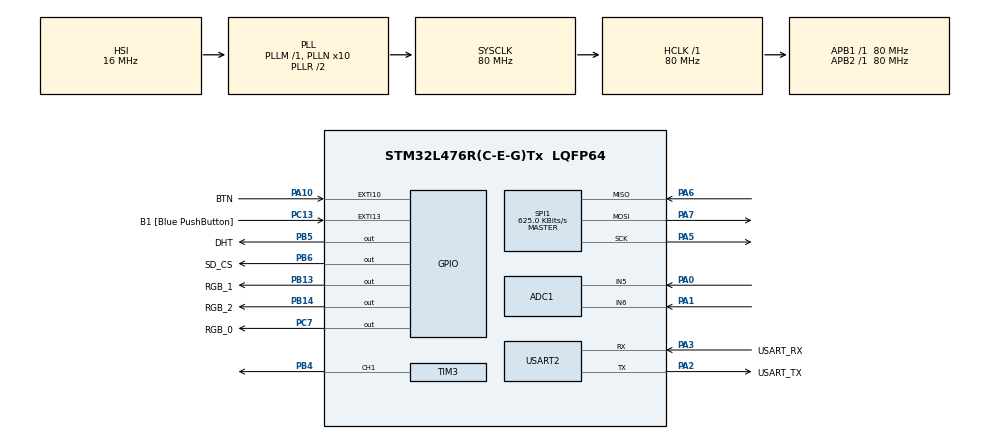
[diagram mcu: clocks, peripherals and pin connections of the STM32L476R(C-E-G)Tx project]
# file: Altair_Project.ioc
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ADC1.Channel-0\#ChannelRegularConversion=ADC_CHANNEL_5
ADC1.NbrOfConversionFlag=1
ADC1.OffsetNumber-0\#ChannelRegularConversion=ADC_OFFSET_NONE
ADC1.Rank-0\#ChannelRegularConversion=1
ADC1.SamplingTime-0\#ChannelRegularConversion=ADC_SAMPLETIME_2CYCLES_5
ADC1.master=1
Dma.ADC1.0.Direction=DMA_PERIPH_TO_MEMORY
Dma.ADC1.0.Instance=DMA1_Channel1
Dma.ADC1.0.MemDataAlignment=DMA_MDATAALIGN_WORD
Dma.ADC1.0.MemInc=DMA_MINC_ENABLE
Dma.ADC1.0.Mode=DMA_CIRCULAR
Dma.ADC1.0.PeriphDataAlignment=DMA_PDATAALIGN_WORD
Dma.ADC1.0.PeriphInc=DMA_PINC_DISABLE
Dma.ADC1.0.Priority=DMA_PRIORITY_LOW
Dma.Request0=ADC1
FREERTOS.Tasks01=defaultTask,24,128,StartDefaultTask,Default,NULL,Dynamic,NULL,NULL
IWDG.Prescaler=IWDG_PRESCALER_16
IWDG.Reload=1999
IWDG.Window=1199
Mcu.Family=STM32L4
Mcu.Name=STM32L476R(C-E-G)Tx
Mcu.Package=LQFP64
NVIC.DMA1_Channel1_IRQn=true\:5\:0\:false\:false\:true\:true\:false\:true\:true
NVIC.EXTI15_10_IRQn=true\:5\:0\:false\:false\:true\:true\:true\:true\:true
NVIC.PriorityGroup=NVIC_PRIORITYGROUP_4
NVIC.USART2_IRQn=true\:5\:0\:false\:false\:true\:true\:true\:true\:true
PA0.Signal=ADCx_IN5
PA1.Signal=ADCx_IN6
PA10.GPIO_Label=BTN
PA10.Signal=GPXTI10
PA13\ (JTMS-SWDIO).GPIO_Label=TMS
PA13\ (JTMS-SWDIO).Mode=Serial_Wire
PA13\ (JTMS-SWDIO).Signal=SYS_JTMS-SWDIO
PA14\ (JTCK-SWCLK).GPIO_Label=TCK
PA14\ (JTCK-SWCLK).Mode=Serial_Wire
PA14\ (JTCK-SWCLK).Signal=SYS_JTCK-SWCLK
PA2.GPIO_Label=USART_TX
PA2.GPIO_Mode=GPIO_MODE_AF_PP
PA2.GPIO_PuPd=GPIO_NOPULL
PA2.GPIO_Speed=GPIO_SPEED_FREQ_VERY_HIGH
PA2.Mode=Asynchronous
PA2.Signal=USART2_TX
PA3.GPIO_Label=USART_RX
PA3.GPIO_Mode=GPIO_MODE_AF_PP
PA3.GPIO_PuPd=GPIO_NOPULL
PA3.GPIO_Speed=GPIO_SPEED_FREQ_VERY_HIGH
PA3.Mode=Asynchronous
PA3.Signal=USART2_RX
PA5.Mode=Full_Duplex_Master
PA5.Signal=SPI1_SCK
PA6.Mode=Full_Duplex_Master
PA6.Signal=SPI1_MISO
PA7.Mode=Full_Duplex_Master
PA7.Signal=SPI1_MOSI
PB13.GPIO_Label=RGB_1
PB13.Signal=GPIO_Output
PB14.GPIO_Label=RGB_2
PB14.Signal=GPIO_Output
PB3\ (JTDO-TRACESWO).GPIO_Label=SWO
PB3\ (JTDO-TRACESWO).Signal=SYS_JTDO-SWO
PB4\ (NJTRST).Signal=S_TIM3_CH1
PB5.GPIO_Label=DHT
PB5.Signal=GPIO_Output
PB6.GPIO_Label=SD_CS
PB6.Signal=GPIO_Output
PC13.GPIO_Label=B1 [Blue PushButton]
PC13.GPIO_ModeDefaultEXTI=GPIO_MODE_IT_FALLING
PC13.GPIO_PuPd=GPIO_NOPULL
PC13.Signal=GPXTI13
PC14-OSC32_IN\ (PC14).Mode=LSE-External-Oscillator
PC14-OSC32_IN\ (PC14).Signal=RCC_OSC32_IN
PC15-OSC32_OUT\ (PC15).Mode=LSE-External-Oscillator
PC15-OSC32_OUT\ (PC15).Signal=RCC_OSC32_OUT
PC7.GPIO_Label=RGB_0
PC7.Signal=GPIO_Output
PH0-OSC_IN\ (PH0).Signal=RCC_OSC_IN
PH1-OSC_OUT\ (PH1).Signal=RCC_OSC_OUT
ProjectManager.HeapSize=0x200
ProjectManager.StackSize=0x400
ProjectManager.TargetToolchain=STM32CubeIDE
RCC.ADCFreq_Value=64000000
RCC.AHBFreq_Value=80000000
RCC.APB1Freq_Value=80000000
RCC.APB1TimFreq_Value=80000000
RCC.APB2Freq_Value=80000000
RCC.APB2TimFreq_Value=80000000
RCC.CortexFreq_Value=80000000
RCC.HCLKFreq_Value=80000000
RCC.HSE_VALUE=8000000
RCC.HSI_VALUE=16000000
RCC.MSI_VALUE=4000000
RCC.PLLN=10
RCC.PLLSourceVirtual=RCC_PLLSOURCE_HSI
RCC.PREFETCH_ENABLE=1
RCC.SYSCLKFreq_VALUE=80000000
RCC.SYSCLKSource=RCC_SYSCLKSOURCE_PLLCLK
RCC.USBFreq_Value=64000000
RCC.VCOOutputFreq_Value=160000000
SH.ADCx_IN5.0=ADC1_IN5,IN5-Single-Ended
SH.ADCx_IN6.0=ADC1_IN6,IN6-Single-Ended
SH.S_TIM3_CH1.0=TIM3_CH1,PWM Generation1 CH1
SPI1.BaudRatePrescaler=SPI_BAUDRATEPRESCALER_128
SPI1.CalculateBaudRate=625.0 KBits/s
SPI1.DataSize=SPI_DATASIZE_8BIT
SPI1.Direction=SPI_DIRECTION_2LINES
SPI1.Mode=SPI_MODE_MASTER
SPI1.VirtualType=VM_MASTER
TIM3.Channel-PWM\ Generation1\ CH1=TIM_CHANNEL_1
TIM3.Period=3815
TIM3.Prescaler=79
TIM3.Pulse-PWM\ Generation1\ CH1=1907
TIM6.Period=19999
TIM6.Prescaler=79
USART2.VirtualMode-Asynchronous=VM_ASYNC
VP_FATFS_VS_Generic.Mode=User_defined
VP_FREERTOS_VS_CMSIS_V2.Mode=CMSIS_V2
VP_IWDG_VS_IWDG.Mode=IWDG_Activate
VP_RTC_VS_RTC_Activate.Mode=RTC_Enabled
VP_RTC_VS_RTC_Calendar.Mode=RTC_Calendar
VP_TIM6_VS_ClockSourceINT.Mode=Enable_Timer
board=NUCLEO-L476RG

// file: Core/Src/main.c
/* USER CODE BEGIN Header */
/**
  ******************************************************************************
  * @file           : main.c
  * @brief          : Main program body
  ******************************************************************************
  * @attention
  *
  * Copyright (c) 2025 STMicroelectronics.
  * All rights reserved.
  *
  * This software is licensed under terms that can be found in the LICENSE file
  * in the root directory of this software component.
  * If no LICENSE file comes with this software, it is provided AS-IS.
  *
  ******************************************************************************
  */
/* USER CODE END Header */
#include "main.h"
#include "cmsis_os.h"
#include "adc.h"
#include "dma.h"
#include "fatfs.h"
#include "iwdg.h"
#include "rtc.h"
#include "spi.h"
#include "tim.h"
#include "usart.h"
#include "gpio.h"

/* USER CODE BEGIN Includes */
#include <stdio.h>
#include "rgb.h"
/* USER CODE END Includes */

/* USER CODE BEGIN PD */
//SPI_HandleTypeDef hspi1;
/* USER CODE END PD */

void SystemClock_Config(void);
void MX_FREERTOS_Init(void);

int main(void)
{

  /* MCU Configuration--------------------------------------------------------*/

  /* Reset of all peripherals, Initializes the Flash interface and the Systick. */
  HAL_Init();

  /* Configure the system clock */
  SystemClock_Config();

  /* Initialize all configured peripherals */
  MX_GPIO_Init();
  MX_DMA_Init();
  MX_USART2_UART_Init();
//  MX_IWDG_Init();
  MX_RTC_Init();
  MX_ADC1_Init();
  MX_TIM3_Init();
  MX_TIM6_Init();
  MX_FATFS_Init();
  MX_SPI1_Init();

  /* Init scheduler */
  osKernelInitialize();

//  uint8_t test_buf[64];
//  HAL_UART_Receive(&huart2, test_buf, sizeof(test_buf), 5000);
//  printf("Received (poll): %s\r\n", test_buf);

  /* Call init function for freertos objects (in cmsis_os2.c) */
  MX_FREERTOS_Init();

  /* Start scheduler */
  osKernelStart();

  /* We should never get here as control is now taken by the scheduler */

  /* Infinite loop */
  while (1)
  {

  }
}

void SystemClock_Config(void)
{
  RCC_OscInitTypeDef RCC_OscInitStruct = {0};
  RCC_ClkInitTypeDef RCC_ClkInitStruct = {0};

  /** Configure the main internal regulator output voltage
  */
  if (HAL_PWREx_ControlVoltageScaling(PWR_REGULATOR_VOLTAGE_SCALE1) != HAL_OK)
  {
    Error_Handler();
  }

  /** Initializes the RCC Oscillators according to the specified parameters
  * in the RCC_OscInitTypeDef structure.
  */
  RCC_OscInitStruct.OscillatorType = RCC_OSCILLATORTYPE_HSI|RCC_OSCILLATORTYPE_LSI;
  RCC_OscInitStruct.HSIState = RCC_HSI_ON;
  RCC_OscInitStruct.HSICalibrationValue = RCC_HSICALIBRATION_DEFAULT;
  RCC_OscInitStruct.LSIState = RCC_LSI_ON;
  RCC_OscInitStruct.PLL.PLLState = RCC_PLL_ON;
  RCC_OscInitStruct.PLL.PLLSource = RCC_PLLSOURCE_HSI;
  RCC_OscInitStruct.PLL.PLLM = 1;
  RCC_OscInitStruct.PLL.PLLN = 10;
  RCC_OscInitStruct.PLL.PLLP = RCC_PLLP_DIV7;
  RCC_OscInitStruct.PLL.PLLQ = RCC_PLLQ_DIV2;
  RCC_OscInitStruct.PLL.PLLR = RCC_PLLR_DIV2;
  if (HAL_RCC_OscConfig(&RCC_OscInitStruct) != HAL_OK)
  {
    Error_Handler();
  }

  /** Initializes the CPU, AHB and APB buses clocks
  */
  RCC_ClkInitStruct.ClockType = RCC_CLOCKTYPE_HCLK|RCC_CLOCKTYPE_SYSCLK
                              |RCC_CLOCKTYPE_PCLK1|RCC_CLOCKTYPE_PCLK2;
  RCC_ClkInitStruct.SYSCLKSource = RCC_SYSCLKSOURCE_PLLCLK;
  RCC_ClkInitStruct.AHBCLKDivider = RCC_SYSCLK_DIV1;
  RCC_ClkInitStruct.APB1CLKDivider = RCC_HCLK_DIV1;
  RCC_ClkInitStruct.APB2CLKDivider = RCC_HCLK_DIV1;

  if (HAL_RCC_ClockConfig(&RCC_ClkInitStruct, FLASH_LATENCY_4) != HAL_OK)
  {
    Error_Handler();
  }
}

void Error_Handler(void)
{
  __disable_irq();
  while (1)
  {
  }
}

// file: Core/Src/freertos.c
/* USER CODE BEGIN Header */
/**
  ******************************************************************************
  * File Name          : freertos.c
  * Description        : Code for freertos applications
  ******************************************************************************
  * @attention
  *
  * Copyright (c) 2025 STMicroelectronics.
  * All rights reserved.
  *
  * This software is licensed under terms that can be found in the LICENSE file
  * in the root directory of this software component.
  * If no LICENSE file comes with this software, it is provided AS-IS.
  *
  ******************************************************************************
  */
/* USER CODE END Header */

#include "FreeRTOS.h"
#include "task.h"
#include "main.h"
#include "cmsis_os.h"

/* USER CODE BEGIN Includes */
#include <stdio.h>
#include <stdint.h>
#include <string.h>
#include "dht.h"
#include "adc.h"
#include "sd_card.h"
#include "date_time.h"
#include "config.h"
#include "system_state.h"
#include "message_data.h"
#include "event_logger.h"
/* USER CODE END Includes */

/* USER CODE BEGIN PTD */

osMessageQueueId_t messageQueueHandle;
osMessageQueueId_t eventQueueHandle;
osEventFlagsId_t commEventFlags;
MessageData message = {0};
DateTime* g_dt;
uint32_t buffer[2];
uint32_t length = 2;
/* USER CODE END PTD */

/* USER CODE BEGIN PD */
#define MAX_LOG_DAYS 8
#define COMM_EVENT_RX_COMPLETE  0x01
#define COMM_EVENT_KEEP_ALIVE   0x02

static char currentLogFile[20] = "";
static char logFiles[MAX_LOG_DAYS][20];
static int logFileCount = 0;

void DHT_Task(void *argument);
void SampleData();
void ControllerTask(void* argument);
void LoggerTask(void *argument);
void EventTask(void *argument);
void CommTask(void *argument);
void KeepAliveTask(void *argument);
/* USER CODE END PD */

/* USER CODE BEGIN PM */
extern DHT11_Data data;
extern RTC_HandleTypeDef hrtc;
extern TIM_HandleTypeDef htim6;

osTimerId_t timID;
uint32_t delay = 5000;

/* USER CODE END PM */

/* USER CODE BEGIN Variables */

osMutexId_t sdMutexHandle;
const osMutexAttr_t sdMutex_attributes = {
  .name = "sdMutex"
};

osThreadId_t dhtTaskHandle;
const osThreadAttr_t dhtTask_attributes = {
  .name = "dhtTask",
  .stack_size = 512 * 4,
  .priority = (osPriority_t) osPriorityNormal,
};

osThreadId_t controllerTaskHandle;
const osThreadAttr_t controllerTask_attributes = {
  .name = "controllerTask",
  .stack_size = 512 * 4,
  .priority = (osPriority_t) osPriorityNormal,
};

osThreadId_t loggerTaskHandle;
const osThreadAttr_t loggerTask_attributes = {
  .name = "loggerTask",
  .stack_size = 256 * 4,
  .priority = (osPriority_t) osPriorityNormal,
};

osThreadId_t eventTaskHandle;
const osThreadAttr_t eventTask_attributes = {
  .name = "eventTask",
  .stack_size = 256 * 4,
  .priority = (osPriority_t) osPriorityBelowNormal,
};

osThreadId_t commTaskHandle;
const osThreadAttr_t commTask_attributes = {
  .name = "commTask",
  .stack_size = 2048 * 4,
  .priority = (osPriority_t) osPriorityNormal,
};

osThreadId_t keepAliveTaskHandle;
const osThreadAttr_t keepAliveTask_attributes = {
  .name = "keepAliveTask",
  .stack_size = 128 * 4,
  .priority = (osPriority_t) osPriorityHigh,
};
/* USER CODE END Variables */
/* Definitions for defaultTask */
osThreadId_t defaultTaskHandle;
const osThreadAttr_t defaultTask_attributes = {
  .name = "defaultTask",
  .stack_size = 128 * 4,
  .priority = (osPriority_t) osPriorityNormal,
};

/* USER CODE BEGIN FunctionPrototypes */
extern UART_HandleTypeDef huart2;
void ParseCommand(const char* cmd);
/* USER CODE END FunctionPrototypes */

void StartDefaultTask(void *argument);

void MX_FREERTOS_Init(void); /* (MISRA C 2004 rule 8.1) */

void MX_FREERTOS_Init(void) {
  /* USER CODE BEGIN Init */
	timID = osTimerNew(SampleData, osTimerPeriodic, NULL, NULL);
	osTimerStart(timID, delay);
	HAL_TIM_Base_Start(&htim6);
	DHT_Init(GPIOB, GPIO_PIN_5, &htim6);
	SD_Init();
	g_dt = DateTimeCreate(&hrtc);
	HAL_UART_Receive_IT(&huart2, uartRxBuffer, 1);
	Config_Init();
	messageQueueHandle = osMessageQueueNew(10, sizeof(MessageData), NULL);
	eventQueueHandle = osMessageQueueNew(10, sizeof(SystemEvent), NULL);
	commEventFlags = osEventFlagsNew(NULL);
  /* USER CODE END Init */

  /* USER CODE BEGIN RTOS_MUTEX */
  /* add mutexes, ... */
	sdMutexHandle = osMutexNew(&sdMutex_attributes);
  /* USER CODE END RTOS_MUTEX */

  /* Create the thread(s) */
  /* creation of defaultTask */
  defaultTaskHandle = osThreadNew(StartDefaultTask, NULL, &defaultTask_attributes);

  /* USER CODE BEGIN RTOS_THREADS */
  /* add threads, ... */
  dhtTaskHandle = osThreadNew(DHT_Task, NULL, &dhtTask_attributes);
  controllerTaskHandle = osThreadNew(ControllerTask, NULL, &controllerTask_attributes);
  loggerTaskHandle = osThreadNew(LoggerTask, NULL, &loggerTask_attributes);
  eventTaskHandle = osThreadNew(EventTask, NULL, &eventTask_attributes);
  commTaskHandle = osThreadNew(CommTask, NULL, &commTask_attributes);
  keepAliveTaskHandle = osThreadNew(KeepAliveTask, NULL, &keepAliveTask_attributes);
  /* USER CODE END RTOS_THREADS */

}

void StartDefaultTask(void *argument)
{
  for(;;)
  {
    osDelay(1);
  }
}

/* USER CODE BEGIN Application */
void SampleData()
{

	xTaskNotifyGive(dhtTaskHandle);

	HAL_ADC_Start_DMA(&hadc1, buffer, length);

	printf("Temperature: %d.%d°C, Humidity: %d.%d%%, Potent: %d.%3dV, Light: %lu%%\r\n",
									message.temperature_int,
									message.temperature_dec,
									message.humidity_int,
									message.humidity_dec,
									message.potent_int,
									message.potent_dec,
									message.light
									);

	xTaskNotifyGive(controllerTaskHandle);
}

void DHT_Task(void *argument)
{
	while(1)
	{
		ulTaskNotifyTake(pdTRUE, portMAX_DELAY);
		if (DHT11_ReadData(&dht, &data) == 0)
		{
			message.temperature_int = data.temperature_int;
			message.temperature_dec = data.temperature_dec;
			message.humidity_int = data.humidity_int;
			message.humidity_dec = data.humidity_dec;
		}
	}
}

void HAL_ADC_ConvCpltCallback(ADC_HandleTypeDef* hadc)
{
	if (hadc->Instance == ADC1) {
		HAL_ADC_Stop_DMA(&hadc1);

		uint16_t integral = buffer[0] / 1000;
		uint16_t fractional = buffer[0] % 1000;
		uint32_t light_value = (buffer[1] * 100) / 4096;

		message.potent_int = integral;
		message.potent_dec = fractional;
		message.light = light_value;
	}
}

void ControllerTask(void* argument)
{
	MessageData msgCopy;
	HAL_GPIO_TogglePin(GPIOC, GPIO_PIN_2);

	while(1)
	{
		ulTaskNotifyTake(pdTRUE, portMAX_DELAY);
		msgCopy = message;

		DateTimeGet(g_dt);

		msgCopy.time = g_dt->time;
		msgCopy.date = g_dt->date;

		if (SystemState_Update(&msgCopy, Config_Get())) {

			printf("System mode changed!\r\n");
		}

		osStatus_t status = osMessageQueuePut(messageQueueHandle, &msgCopy, 0, 0);
		if (status == osOK) {

		} else {
		    printf("FAILED to queue message! Code: %d\r\n", status);
		}

		xTaskNotifyGive(loggerTaskHandle);

	}
}

void LoggerTask(void *argument)
{
    MessageData receivedMsg;
    char buffer[128];

    while (1)
    {
    	ulTaskNotifyTake(pdTRUE, portMAX_DELAY);
        if (osMessageQueueGet(messageQueueHandle, &receivedMsg, NULL, osWaitForever) == osOK)
        {
        	SystemConfig* cfg = Config_Get();

        	printf("Thresholds: Temp %d–%d, Humidity > %d, Light > %d, Voltage > %.2f\r\n",
        	       cfg->temp_min,
        	       cfg->temp_max,
        	       cfg->humidity_min,
        	       cfg->light_min,
        	       cfg->voltage_min);

            char filename[20];

            if (receivedMsg.date.year == 0 || receivedMsg.date.month == 0 || receivedMsg.date.day == 0)
            {
                strcpy(filename, "fallback.TXT");
            }
            else
            {
                snprintf(filename, sizeof(filename), "%04d%02d%02d.TXT",
                         receivedMsg.date.year + 2000,
                         receivedMsg.date.month,
                         receivedMsg.date.day);
            }

            if (strcmp(currentLogFile, filename) != 0)
            {
                strcpy(currentLogFile, filename);

                if (logFileCount < MAX_LOG_DAYS)
                {
                    strcpy(logFiles[logFileCount++], filename);
                }
                else
                {
                    f_unlink(logFiles[0]);
                    for (int i = 1; i < MAX_LOG_DAYS; ++i)
                    {
                        strcpy(logFiles[i - 1], logFiles[i]);
                    }
                    strcpy(logFiles[MAX_LOG_DAYS - 1], filename);
                }

                printf("New log file: %s\r\n", filename);
            }

            snprintf(buffer, sizeof(buffer),
                     "%02d-%02d-%02d %02d:%02d:%02d, %d.%d°C, %d.%d%%, %d.%03dV, %lu%%\r\n",
                     receivedMsg.date.year + 2000,
                     receivedMsg.date.month,
                     receivedMsg.date.day,
                     receivedMsg.time.hours,
                     receivedMsg.time.minutes,
                     receivedMsg.time.seconds,
                     receivedMsg.temperature_int,
                     receivedMsg.temperature_dec,
                     receivedMsg.humidity_int,
                     receivedMsg.humidity_dec,
                     receivedMsg.potent_int,
                     receivedMsg.potent_dec,
                     receivedMsg.light);

            SD_AppendToFile(filename, buffer);
            printf("LOGGED: %s", buffer);
        }
    }
}

const char* EventTypeToString(EventType type) {
    switch (type) {
        case EVENT_MODE_CHANGED: return "Mode Changed";
        case EVENT_CONFIG_UPDATED: return "Config Updated";
        default: return "Unknown Event";
    }
}

void EventTask(void *argument)
{
    SystemEvent event;
    char buffer[128];

    while (1)
    {
        if (osMessageQueueGet(eventQueueHandle, &event, NULL, osWaitForever) == osOK)
        {
            snprintf(buffer, sizeof(buffer),
                     "%02d-%02d-%02d %02d:%02d:%02d - EVENT: %s (%d → %d)\r\n",
                     event.date.year + 2000,
                     event.date.month,
                     event.date.day,
                     event.time.hours,
                     event.time.minutes,
                     event.time.seconds,
                     EventTypeToString(event.type),
                     event.old_mode,
                     event.new_mode);

            SD_AppendToFile("events.TXT", buffer);
            printf("LOGGED EVENT: %s", buffer);
        }
    }
}

void CommTask(void *argument)
{
    while (1)
    {
        uint32_t flags = osEventFlagsWait(commEventFlags,
                                          COMM_EVENT_RX_COMPLETE | COMM_EVENT_KEEP_ALIVE,
                                          osFlagsWaitAny,
                                          osWaitForever);

        if (flags & COMM_EVENT_RX_COMPLETE)
        {
        	ParseCommand(commandBuffer);

            commandIndex = 0;
			memset(commandBuffer, 0, UART_COMMAND_BUFFER_SIZE);
        }

        if (flags & COMM_EVENT_KEEP_ALIVE)
        {
            DateTimeGet(g_dt);
            SystemMode mode = SystemState_Get();

            printf("KEEP ALIVE - %04d-%02d-%02d %02d:%02d:%02d | Mode: %d\r\n",
                   g_dt->date.year + 2000,
                   g_dt->date.month,
                   g_dt->date.day,
                   g_dt->time.hours,
                   g_dt->time.minutes,
                   g_dt->time.seconds,
                   mode);
        }
    }
}

void KeepAliveTask(void *argument)
{
    while (1)
    {
        osDelay(6000);

        osEventFlagsSet(commEventFlags, COMM_EVENT_KEEP_ALIVE);
    }
}

/* USER CODE END Application */
